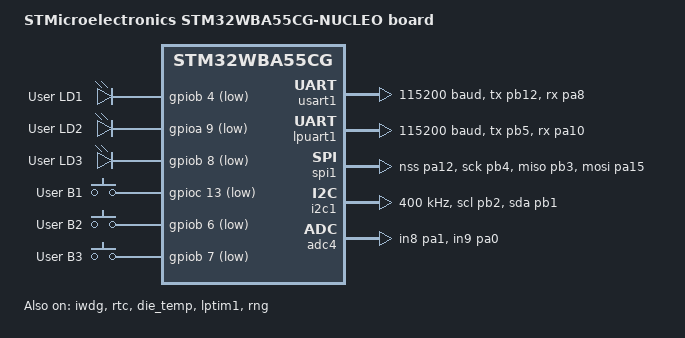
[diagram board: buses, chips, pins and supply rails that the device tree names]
/*
 * Copyright (c)  2023 STMicroelectronics
 *
 * SPDX-License-Identifier: Apache-2.0
 */

/dts-v1/;
#include <st/wba/stm32wba55Xg.dtsi>
#include <st/wba/stm32wba55cgux-pinctrl.dtsi>
#include "arduino_r3_connector.dtsi"
#include <zephyr/dt-bindings/input/input-event-codes.h>

/ {
	model = "STMicroelectronics STM32WBA55CG-NUCLEO board";
	compatible = "st,stm32wba55cg-nucleo";

	#address-cells = <1>;
	#size-cells = <1>;

	chosen {
		zephyr,bt-c2h-uart = &usart1;
		zephyr,console = &usart1;
		zephyr,shell-uart = &usart1;
		zephyr,sram = &sram0;
		zephyr,flash = &flash0;
		zephyr,code-partition = &slot0_partition;
	};

	leds: leds {
		compatible = "gpio-leds";
		blue_led_1: led_0 {
			gpios = <&gpiob 4 GPIO_ACTIVE_LOW>;
			label = "User LD1";
		};
		green_led_2: led_1 {
			gpios = <&gpioa 9 GPIO_ACTIVE_LOW>;
			label = "User LD2";
		};
		red_led_3: led_2 {
			gpios = <&gpiob 8 GPIO_ACTIVE_LOW>;
			label = "User LD3";
		};
	};

	gpio_keys {
		compatible = "gpio-keys";
		user_button_1: button_0 {
			label = "User B1";
			gpios = <&gpioc 13 (GPIO_ACTIVE_LOW | GPIO_PULL_UP)>;
			zephyr,code = <INPUT_KEY_0>;
		};
		user_button_2: button_1 {
			label = "User B2";
			gpios = <&gpiob 6 (GPIO_ACTIVE_LOW | GPIO_PULL_UP)>;
			zephyr,code = <INPUT_KEY_1>;
		};
		user_button_3: button_2 {
			label = "User B3";
			gpios = <&gpiob 7 (GPIO_ACTIVE_LOW | GPIO_PULL_UP)>;
			zephyr,code = <INPUT_KEY_2>;
		};
	};

	aliases {
		led0 = &blue_led_1;
		led1 = &green_led_2;
		led2 = &red_led_3;
		sw0 = &user_button_1;
		sw1 = &user_button_2;
		sw2 = &user_button_3;
		mcuboot-led0 = &blue_led_1;
		mcuboot-button0 = &user_button_1;
		die-temp0 = &die_temp;
	};
};

&clk_lsi {
	status = "okay";
};

&clk_lse {
	status = "okay";
};

&clk_hse {
	status = "okay";
	hse-div2;
};

&clk_hsi {
	status = "okay";
};

&rcc {
	clocks = <&clk_hse>;
	clock-frequency = <DT_FREQ_M(16)>;
	ahb-prescaler = <1>;
	ahb5-prescaler = <2>;
	apb1-prescaler = <1>;
	apb2-prescaler = <2>;
	apb7-prescaler = <1>;
};

&iwdg {
	status = "okay";
};

&rtc {
	status = "okay";
	clocks = <&rcc STM32_CLOCK_BUS_APB7 0x00200000>,
			<&rcc STM32_SRC_LSE RTC_SEL(1)>;
	prescaler = <32768>;
};

&usart1 {
	clocks = <&rcc STM32_CLOCK_BUS_APB2 0x00004000>,
		 <&rcc STM32_SRC_HSI16 USART1_SEL(2)>;
	pinctrl-0 = <&usart1_tx_pb12 &usart1_rx_pa8>;
	pinctrl-1 = <&analog_pb12 &analog_pa8>;
	pinctrl-names = "default", "sleep";
	current-speed = <115200>;
	status = "okay";
};

&lpuart1 {
	pinctrl-0 = <&lpuart1_tx_pb5 &lpuart1_rx_pa10>;
	pinctrl-names = "default";
	current-speed = <115200>;
	status = "okay";
};

&spi1 {
	pinctrl-0 = <&spi1_nss_pa12 &spi1_sck_pb4
		     &spi1_miso_pb3 &spi1_mosi_pa15>;
	pinctrl-names = "default";
	status = "okay";
};

&i2c1 {
	pinctrl-0 = <&i2c1_scl_pb2 &i2c1_sda_pb1>;
	pinctrl-names = "default";
	status = "okay";
	clock-frequency = <I2C_BITRATE_FAST>;
};

&adc4 {
	pinctrl-0 = <&adc4_in8_pa1 &adc4_in9_pa0>;
	pinctrl-names = "default";
	st,adc-clock-source = <ASYNC>;
	st,adc-prescaler = <4>;
	status = "okay";
};

&die_temp {
	status = "okay";
};

stm32_lp_tick_source: &lptim1 {
	clocks = <&rcc STM32_CLOCK_BUS_APB7 0x00000800>,
		 <&rcc STM32_SRC_LSE LPTIM1_SEL(3)>;
	status = "okay";
};

&rng {
	status = "okay";
};

&flash0 {
	partitions {
		compatible = "fixed-partitions";
		#address-cells = <1>;
		#size-cells = <1>;

		boot_partition: partition@0 {
			label = "mcuboot";
			reg = <0x00000000 DT_SIZE_K(64)>;
		};
		slot0_partition: partition@10000 {
			label = "image-0";
			reg = <0x00010000 DT_SIZE_K(456)>;
		};
		slot1_partition: partition@82000 {
			label = "image-1";
			reg = <0x00082000 DT_SIZE_K(448)>;
		};
		storage_partition: partition@f2000 {
			label = "storage";
			reg = <0x000f2000 DT_SIZE_K(56)>;
		};
	};
};
